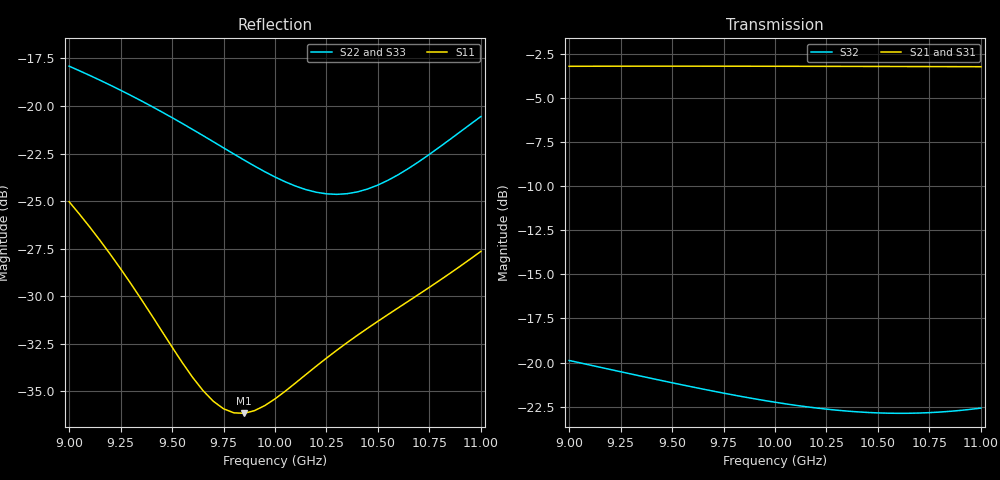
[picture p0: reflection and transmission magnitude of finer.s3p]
! yapnr rf: wilkinson-x10, footprint re-simulated (refine 3)
! spec sha256 873f85794a61544b0bb32f7d4ed76952a4a3fe576a48ff2aa00e031ce3428988
! 3 ports renormalized to 50 ohm, e^(+jwt) convention
# GHz S RI R 50
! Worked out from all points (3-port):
!   41 points, 9 GHz to 11 GHz, reference 50 ohm
!   strongest paths, dB at 9 GHz, 9.5 GHz, 10 GHz, 10.5 GHz, 11 GHz:
!     S21: -3.2, -3.2, -3.2, -3.2, -3.2
!     S31: -3.2, -3.2, -3.2, -3.2, -3.2
!     S32: -19.9, -21.1, -22.2, -22.9, -22.6
!   lowest |S11| = -36.2 dB at 9.85 GHz (marker M1), VSWR 1.03, Z = 51 + j1.18 ohm
!   |S11| at or under -10 dB: start of sweep to end of sweep
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9  0.0552 0.00985  -0.1581 0.6774  -0.1581 0.6774
   -0.1567 0.6731  0.0422 0.1201  0.00623 -0.1012
   -0.1567 0.6731  0.00623 -0.1012  0.0422 0.1201
9.25  0.0369 0.00548  -0.0642 0.6932  -0.0642 0.6932
      -0.0633 0.6887  0.0535 0.0962  -0.0214 -0.0917
      -0.0633 0.6887  -0.0214 -0.0917  0.0535 0.0962
9.65  0.0161 0.00784  0.088 0.6908  0.088 0.6908
      0.088 0.686  0.0637 0.0541  -0.0557 -0.063
      0.088 0.686  -0.0557 -0.063  0.0637 0.0541
9.75  0.0128 0.00959  0.1257 0.6848  0.1257 0.6848
      0.1255 0.68  0.0646 0.043  -0.0617 -0.0538
      0.1255 0.68  -0.0617 -0.0538  0.0646 0.043
9.85  0.0104 0.0116  0.163 0.6768  0.163 0.6768
      0.1626 0.672  0.0647 0.0318  -0.0666 -0.0441
      0.1626 0.672  -0.0666 -0.0441  0.0647 0.0318
10  0.00844 0.0147  0.218 0.661  0.218 0.661
    0.2172 0.6562  0.0634 0.0146  -0.0717 -0.0286
    0.2172 0.6562  -0.0717 -0.0286  0.0634 0.0146
10.25  0.00942 0.0196  0.3063 0.6246  0.3063 0.6246
       0.3049 0.6199  0.057 -0.0143  -0.0738 -0.00179
       0.3049 0.6199  -0.0738 -0.00179  0.057 -0.0143
10.45  0.0138 0.0221  0.3729 0.5868  0.3729 0.5868
       0.3711 0.5823  0.0477 -0.0372  -0.0696 0.0193
       0.3711 0.5823  -0.0696 0.0193  0.0477 -0.0372
10.65  0.0209 0.0225  0.4351 0.5418  0.4351 0.5418
       0.4329 0.5374  0.0346 -0.0592  -0.0604 0.0388
       0.4329 0.5374  -0.0604 0.0388  0.0346 -0.0592
11  0.0381 0.0163  0.531 0.4467  0.531 0.4467
    0.5282 0.4428  0.00212 -0.0938  -0.0338 0.0662
    0.5282 0.4428  -0.0338 0.0662  0.00212 -0.0938
